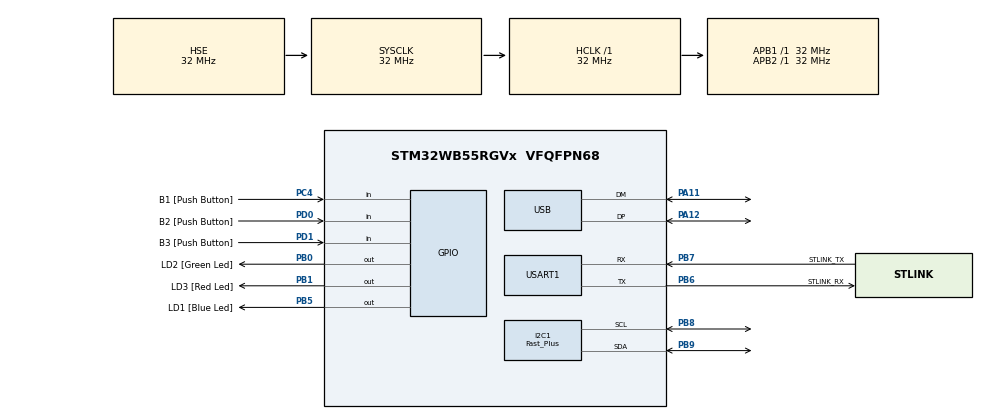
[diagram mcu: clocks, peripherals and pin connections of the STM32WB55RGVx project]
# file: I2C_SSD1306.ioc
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Dma.I2C1_TX.0.Direction=DMA_MEMORY_TO_PERIPH
Dma.I2C1_TX.0.EventEnable=DISABLE
Dma.I2C1_TX.0.Instance=DMA1_Channel1
Dma.I2C1_TX.0.MemDataAlignment=DMA_MDATAALIGN_BYTE
Dma.I2C1_TX.0.MemInc=DMA_MINC_ENABLE
Dma.I2C1_TX.0.Mode=DMA_NORMAL
Dma.I2C1_TX.0.PeriphDataAlignment=DMA_PDATAALIGN_BYTE
Dma.I2C1_TX.0.PeriphInc=DMA_PINC_DISABLE
Dma.I2C1_TX.0.Polarity=HAL_DMAMUX_REQ_GEN_RISING
Dma.I2C1_TX.0.Priority=DMA_PRIORITY_LOW
Dma.I2C1_TX.0.RequestNumber=1
Dma.I2C1_TX.0.SignalID=NONE
Dma.I2C1_TX.0.SyncEnable=DISABLE
Dma.I2C1_TX.0.SyncPolarity=HAL_DMAMUX_SYNC_NO_EVENT
Dma.I2C1_TX.0.SyncRequestNumber=1
Dma.I2C1_TX.0.SyncSignalID=NONE
Dma.Request0=I2C1_TX
Dma.Request1=USART1_RX
Dma.Request2=USART1_TX
Dma.USART1_RX.1.Direction=DMA_PERIPH_TO_MEMORY
Dma.USART1_RX.1.EventEnable=DISABLE
Dma.USART1_RX.1.Instance=DMA1_Channel3
Dma.USART1_RX.1.MemDataAlignment=DMA_MDATAALIGN_BYTE
Dma.USART1_RX.1.MemInc=DMA_MINC_ENABLE
Dma.USART1_RX.1.Mode=DMA_NORMAL
Dma.USART1_RX.1.PeriphDataAlignment=DMA_PDATAALIGN_BYTE
Dma.USART1_RX.1.PeriphInc=DMA_PINC_DISABLE
Dma.USART1_RX.1.Polarity=HAL_DMAMUX_REQ_GEN_RISING
Dma.USART1_RX.1.Priority=DMA_PRIORITY_LOW
Dma.USART1_RX.1.RequestNumber=1
Dma.USART1_RX.1.SignalID=NONE
Dma.USART1_RX.1.SyncEnable=DISABLE
Dma.USART1_RX.1.SyncPolarity=HAL_DMAMUX_SYNC_NO_EVENT
Dma.USART1_RX.1.SyncRequestNumber=1
Dma.USART1_RX.1.SyncSignalID=NONE
Dma.USART1_TX.2.Direction=DMA_MEMORY_TO_PERIPH
Dma.USART1_TX.2.EventEnable=DISABLE
Dma.USART1_TX.2.Instance=DMA1_Channel4
Dma.USART1_TX.2.MemDataAlignment=DMA_MDATAALIGN_BYTE
Dma.USART1_TX.2.MemInc=DMA_MINC_ENABLE
Dma.USART1_TX.2.Mode=DMA_NORMAL
Dma.USART1_TX.2.PeriphDataAlignment=DMA_PDATAALIGN_BYTE
Dma.USART1_TX.2.PeriphInc=DMA_PINC_DISABLE
Dma.USART1_TX.2.Polarity=HAL_DMAMUX_REQ_GEN_RISING
Dma.USART1_TX.2.Priority=DMA_PRIORITY_LOW
Dma.USART1_TX.2.RequestNumber=1
Dma.USART1_TX.2.SignalID=NONE
Dma.USART1_TX.2.SyncEnable=DISABLE
Dma.USART1_TX.2.SyncPolarity=HAL_DMAMUX_SYNC_NO_EVENT
Dma.USART1_TX.2.SyncRequestNumber=1
Dma.USART1_TX.2.SyncSignalID=NONE
I2C1.I2C_Speed_Mode=I2C_Fast_Plus
I2C1.Timing=0x00100413
Mcu.Family=STM32WB
Mcu.Name=STM32WB55RGVx
Mcu.Package=VFQFPN68
NVIC.DMA1_Channel1_IRQn=true\:0\:0\:false\:false\:true\:false\:true
NVIC.DMA1_Channel3_IRQn=true\:0\:0\:false\:false\:true\:false\:true
NVIC.DMA1_Channel4_IRQn=true\:0\:0\:false\:false\:true\:false\:true
NVIC.I2C1_ER_IRQn=true\:0\:0\:false\:false\:true\:true\:true
NVIC.I2C1_EV_IRQn=true\:0\:0\:false\:false\:true\:true\:true
NVIC.PriorityGroup=NVIC_PRIORITYGROUP_4
NVIC.USART1_IRQn=true\:0\:0\:false\:false\:true\:true\:true
OSC_IN.Mode=HSE-External-Oscillator
OSC_IN.Signal=RCC_OSC_IN
OSC_OUT.Mode=HSE-External-Oscillator
OSC_OUT.Signal=RCC_OSC_OUT
PA11.Mode=Device
PA11.Signal=USB_DM
PA12.Mode=Device
PA12.Signal=USB_DP
PA13.GPIO_Label=JTMS
PA13.Mode=Trace_Asynchronous_SW
PA13.Signal=SYS_JTMS-SWDIO
PA14.GPIO_Label=JTCK
PA14.Mode=Trace_Asynchronous_SW
PA14.Signal=SYS_JTCK-SWCLK
PB0.GPIO_Label=LD2 [Green Led]
PB0.Signal=GPIO_Output
PB1.GPIO_Label=LD3 [Red Led]
PB1.Signal=GPIO_Output
PB3.GPIO_Label=JTDO
PB3.Mode=Trace_Asynchronous_SW
PB3.Signal=SYS_JTDO-SWO
PB5.GPIO_Label=LD1 [Blue Led]
PB5.Signal=GPIO_Output
PB6.GPIO_Label=STLINK_RX
PB6.Mode=Asynchronous
PB6.Signal=USART1_TX
PB7.GPIO_Label=STLINK_TX
PB7.Mode=Asynchronous
PB7.Signal=USART1_RX
PB8.Mode=I2C
PB8.Signal=I2C1_SCL
PB9.Mode=I2C
PB9.Signal=I2C1_SDA
PC13.Mode=SYS_WakeUp1
PC13.Signal=SYS_WKUP2
PC14-OSC32_IN.Mode=LSE-External-Oscillator
PC14-OSC32_IN.Signal=RCC_OSC32_IN
PC15-OSC32_OUT.Mode=LSE-External-Oscillator
PC15-OSC32_OUT.Signal=RCC_OSC32_OUT
PC4.GPIO_Label=B1 [Push Button]
PC4.Signal=GPIO_Input
PD0.GPIO_Label=B2 [Push Button]
PD0.Signal=GPIO_Input
PD1.GPIO_Label=B3 [Push Button]
PD1.Signal=GPIO_Input
ProjectManager.HeapSize=0x200
ProjectManager.StackSize=0x400
ProjectManager.TargetToolchain=TrueSTUDIO
RCC.ADCFreq_Value=48000000
RCC.AHBFreq_Value=32000000
RCC.APB1Freq_Value=32000000
RCC.APB1TimFreq_Value=32000000
RCC.APB2Freq_Value=32000000
RCC.APB2TimFreq_Value=32000000
RCC.APB3Freq_Value=16000000
RCC.CortexFreq_Value=32000000
RCC.HCLKFreq_Value=32000000
RCC.HSE_VALUE=32000000
RCC.HSI48_VALUE=48000000
RCC.HSI_VALUE=16000000
RCC.PLLN=32
RCC.PLLSAI1N=24
RCC.SMPSCLockSelectionVirtual=RCC_SMPSCLKSOURCE_HSI
RCC.SYSCLKFreq_VALUE=32000000
RCC.SYSCLKSource=RCC_SYSCLKSOURCE_HSE
RCC.USBFreq_Value=48000000
RCC.VCOOutputFreq_Value=128000000
USART1.Parity=PARITY_ODD
USART1.VirtualMode-Asynchronous=VM_ASYNC
USART1.WordLength=WORDLENGTH_8B
board=P-NUCLEO-WB55-Nucleo

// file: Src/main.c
/* USER CODE BEGIN Header */
/**
  ******************************************************************************
  * @file           : main.c
  * @brief          : Main program body
  ******************************************************************************
  * @attention
  *
  * <h2><center>&copy; Copyright (c) 2019 STMicroelectronics.
  * All rights reserved.</center></h2>
  *
  * This software component is licensed by ST under BSD 3-Clause license,
  * the "License"; You may not use this file except in compliance with the
  * License. You may obtain a copy of the License at:
  *                        opensource.org/licenses/BSD-3-Clause
  *
  ******************************************************************************
  */
/* USER CODE END Header */

#include "main.h"

/* USER CODE BEGIN Includes */

#include<stdio.h>
#include "fonts.h"
#include "SSD1306.h"

/* USER CODE END Includes */

I2C_HandleTypeDef hi2c1;
DMA_HandleTypeDef hdma_i2c1_tx;

UART_HandleTypeDef huart1;
DMA_HandleTypeDef hdma_usart1_rx;
DMA_HandleTypeDef hdma_usart1_tx;

PCD_HandleTypeDef hpcd_USB_FS;

/* USER CODE BEGIN PV */

uint8_t ssd1306_buffer[128*8]={0};
//uint8_t ssd1306_Fonts[]={0x00, 0x00, 0x00, 0xE0, 0xF8, 0x1F, 0x07, 0x1F, 0xF8, 0xE0, 0x00, 0x00, 0x00,
//					0x60, 0x7C, 0x1F, 0x07, 0x06, 0x06, 0x06, 0x06, 0x06, 0x07, 0x1F, 0x7C, 0x60
//};

/* USER CODE END PV */

void SystemClock_Config(void);
static void MX_GPIO_Init(void);
static void MX_DMA_Init(void);
static void MX_I2C1_Init(void);
static void MX_USART1_UART_Init(void);
static void MX_USB_PCD_Init(void);

/* USER CODE BEGIN 0 */

#ifdef __GNUC__
int _write(int file,uint8_t*ptr,int len)
{
  HAL_UART_Transmit(&huart1,ptr,len,1000);
  return len;
}
#elif (__ICCARM__||__CC_ARM)
int fputc(int c,FILE*stream)
{
  HAL_UART_Transmit(&huart1,(uint8_t*)&c,1,1000);
  return c;
}
#endif

/* USER CODE END 0 */

int main(void)
{

  /* MCU Configuration--------------------------------------------------------*/

  /* Reset of all peripherals, Initializes the Flash interface and the Systick. */
  HAL_Init();

  /* Configure the system clock */
  SystemClock_Config();

  /* Initialize all configured peripherals */
  MX_GPIO_Init();
  MX_DMA_Init();
  MX_I2C1_Init();
  MX_USART1_UART_Init();
  MX_USB_PCD_Init();
  /* USER CODE BEGIN 2 */

  uint8_t fill_Buffer=0;

  ssd1306_Init();
  ssd1306_Clear();

  for(uint8_t i=0;i<9;i++)
  {
	  ssd1306_Fill_Screen(fill_Buffer);
	  fill_Buffer=((fill_Buffer<<1)|0x01);
	  HAL_Delay(500);
  }

  ssd1306_Clear();

  for(uint8_t i=0;i<8;i+=2)
  {
	  for(uint8_t j=0;j<128;j++)
	  {
		  ssd1306_W_String("ABCDEFGHIJKLMNOPQRSTUVWXYZabcdefghijklmnopqrstuvwxyz{|}~",i,j);
		  HAL_Delay(20);
	  }
  }

  /* USER CODE END 2 */

  /* Infinite loop */
  while (1)
  {

  }
}

void SystemClock_Config(void)
{
  RCC_OscInitTypeDef RCC_OscInitStruct = {0};
  RCC_ClkInitTypeDef RCC_ClkInitStruct = {0};
  RCC_PeriphCLKInitTypeDef PeriphClkInitStruct = {0};

  /** Macro to configure the PLL multiplication factor
  */
  __HAL_RCC_PLL_PLLM_CONFIG(RCC_PLLM_DIV1);
  /** Macro to configure the PLL clock source
  */
  __HAL_RCC_PLL_PLLSOURCE_CONFIG(RCC_PLLSOURCE_MSI);
  /** Configure LSE Drive Capability
  */
  __HAL_RCC_LSEDRIVE_CONFIG(RCC_LSEDRIVE_LOW);
  /** Configure the main internal regulator output voltage
  */
  __HAL_PWR_VOLTAGESCALING_CONFIG(PWR_REGULATOR_VOLTAGE_SCALE1);
  /** Initializes the CPU, AHB and APB busses clocks
  */
  RCC_OscInitStruct.OscillatorType = RCC_OSCILLATORTYPE_HSI|RCC_OSCILLATORTYPE_HSE
                              |RCC_OSCILLATORTYPE_LSE|RCC_OSCILLATORTYPE_MSI;
  RCC_OscInitStruct.HSEState = RCC_HSE_ON;
  RCC_OscInitStruct.LSEState = RCC_LSE_ON;
  RCC_OscInitStruct.HSIState = RCC_HSI_ON;
  RCC_OscInitStruct.MSIState = RCC_MSI_ON;
  RCC_OscInitStruct.HSICalibrationValue = RCC_HSICALIBRATION_DEFAULT;
  RCC_OscInitStruct.MSICalibrationValue = RCC_MSICALIBRATION_DEFAULT;
  RCC_OscInitStruct.MSIClockRange = RCC_MSIRANGE_6;
  RCC_OscInitStruct.PLL.PLLState = RCC_PLL_NONE;
  if (HAL_RCC_OscConfig(&RCC_OscInitStruct) != HAL_OK)
  {
    Error_Handler();
  }
  /** Configure the SYSCLKSource, HCLK, PCLK1 and PCLK2 clocks dividers
  */
  RCC_ClkInitStruct.ClockType = RCC_CLOCKTYPE_HCLK4|RCC_CLOCKTYPE_HCLK2
                              |RCC_CLOCKTYPE_HCLK|RCC_CLOCKTYPE_SYSCLK
                              |RCC_CLOCKTYPE_PCLK1|RCC_CLOCKTYPE_PCLK2;
  RCC_ClkInitStruct.SYSCLKSource = RCC_SYSCLKSOURCE_HSE;
  RCC_ClkInitStruct.AHBCLKDivider = RCC_SYSCLK_DIV1;
  RCC_ClkInitStruct.APB1CLKDivider = RCC_HCLK_DIV1;
  RCC_ClkInitStruct.APB2CLKDivider = RCC_HCLK_DIV1;
  RCC_ClkInitStruct.AHBCLK2Divider = RCC_SYSCLK_DIV1;
  RCC_ClkInitStruct.AHBCLK4Divider = RCC_SYSCLK_DIV1;

  if (HAL_RCC_ClockConfig(&RCC_ClkInitStruct, FLASH_LATENCY_1) != HAL_OK)
  {
    Error_Handler();
  }
  /** Initializes the peripherals clocks
  */
  PeriphClkInitStruct.PeriphClockSelection = RCC_PERIPHCLK_SMPS|RCC_PERIPHCLK_USART1
                              |RCC_PERIPHCLK_I2C1|RCC_PERIPHCLK_USB;
  PeriphClkInitStruct.PLLSAI1.PLLN = 24;
  PeriphClkInitStruct.PLLSAI1.PLLP = RCC_PLLP_DIV2;
  PeriphClkInitStruct.PLLSAI1.PLLQ = RCC_PLLQ_DIV2;
  PeriphClkInitStruct.PLLSAI1.PLLR = RCC_PLLR_DIV2;
  PeriphClkInitStruct.PLLSAI1.PLLSAI1ClockOut = RCC_PLLSAI1_USBCLK;
  PeriphClkInitStruct.Usart1ClockSelection = RCC_USART1CLKSOURCE_PCLK2;
  PeriphClkInitStruct.I2c1ClockSelection = RCC_I2C1CLKSOURCE_PCLK1;
  PeriphClkInitStruct.UsbClockSelection = RCC_USBCLKSOURCE_PLLSAI1;
  PeriphClkInitStruct.SmpsClockSelection = RCC_SMPSCLKSOURCE_HSI;
  PeriphClkInitStruct.SmpsDivSelection = RCC_SMPSCLKDIV_RANGE1;

  if (HAL_RCCEx_PeriphCLKConfig(&PeriphClkInitStruct) != HAL_OK)
  {
    Error_Handler();
  }
  /** Enable MSI Auto calibration
  */
  HAL_RCCEx_EnableMSIPLLMode();
}

static void MX_I2C1_Init(void)
{

  hi2c1.Instance = I2C1;
  hi2c1.Init.Timing = 0x00100413;
  hi2c1.Init.OwnAddress1 = 0;
  hi2c1.Init.AddressingMode = I2C_ADDRESSINGMODE_7BIT;
  hi2c1.Init.DualAddressMode = I2C_DUALADDRESS_DISABLE;
  hi2c1.Init.OwnAddress2 = 0;
  hi2c1.Init.OwnAddress2Masks = I2C_OA2_NOMASK;
  hi2c1.Init.GeneralCallMode = I2C_GENERALCALL_DISABLE;
  hi2c1.Init.NoStretchMode = I2C_NOSTRETCH_DISABLE;
  if (HAL_I2C_Init(&hi2c1) != HAL_OK)
  {
    Error_Handler();
  }
  /** Configure Analogue filter
  */
  if (HAL_I2CEx_ConfigAnalogFilter(&hi2c1, I2C_ANALOGFILTER_ENABLE) != HAL_OK)
  {
    Error_Handler();
  }
  /** Configure Digital filter
  */
  if (HAL_I2CEx_ConfigDigitalFilter(&hi2c1, 0) != HAL_OK)
  {
    Error_Handler();
  }
  /** I2C Enable Fast Mode Plus
  */
  HAL_I2CEx_EnableFastModePlus(I2C_FASTMODEPLUS_I2C1);

}

static void MX_USART1_UART_Init(void)
{

  huart1.Instance = USART1;
  huart1.Init.BaudRate = 115200;
  huart1.Init.WordLength = UART_WORDLENGTH_8B;
  huart1.Init.StopBits = UART_STOPBITS_1;
  huart1.Init.Parity = UART_PARITY_ODD;
  huart1.Init.Mode = UART_MODE_TX_RX;
  huart1.Init.HwFlowCtl = UART_HWCONTROL_NONE;
  huart1.Init.OverSampling = UART_OVERSAMPLING_16;
  huart1.Init.OneBitSampling = UART_ONE_BIT_SAMPLE_DISABLE;
  huart1.Init.ClockPrescaler = UART_PRESCALER_DIV1;
  huart1.AdvancedInit.AdvFeatureInit = UART_ADVFEATURE_NO_INIT;
  if (HAL_UART_Init(&huart1) != HAL_OK)
  {
    Error_Handler();
  }
  if (HAL_UARTEx_SetTxFifoThreshold(&huart1, UART_TXFIFO_THRESHOLD_1_8) != HAL_OK)
  {
    Error_Handler();
  }
  if (HAL_UARTEx_SetRxFifoThreshold(&huart1, UART_RXFIFO_THRESHOLD_1_8) != HAL_OK)
  {
    Error_Handler();
  }
  if (HAL_UARTEx_DisableFifoMode(&huart1) != HAL_OK)
  {
    Error_Handler();
  }

}

static void MX_USB_PCD_Init(void)
{

  hpcd_USB_FS.Instance = USB;
  hpcd_USB_FS.Init.dev_endpoints = 8;
  hpcd_USB_FS.Init.speed = PCD_SPEED_FULL;
  hpcd_USB_FS.Init.phy_itface = PCD_PHY_EMBEDDED;
  hpcd_USB_FS.Init.Sof_enable = DISABLE;
  hpcd_USB_FS.Init.low_power_enable = DISABLE;
  hpcd_USB_FS.Init.lpm_enable = DISABLE;
  hpcd_USB_FS.Init.battery_charging_enable = DISABLE;
  if (HAL_PCD_Init(&hpcd_USB_FS) != HAL_OK)
  {
    Error_Handler();
  }

}

static void MX_DMA_Init(void)
{

  /* DMA controller clock enable */
  __HAL_RCC_DMAMUX1_CLK_ENABLE();
  __HAL_RCC_DMA1_CLK_ENABLE();

  /* DMA interrupt init */
  /* DMA1_Channel1_IRQn interrupt configuration */
  HAL_NVIC_SetPriority(DMA1_Channel1_IRQn, 0, 0);
  HAL_NVIC_EnableIRQ(DMA1_Channel1_IRQn);
  /* DMA1_Channel3_IRQn interrupt configuration */
  HAL_NVIC_SetPriority(DMA1_Channel3_IRQn, 0, 0);
  HAL_NVIC_EnableIRQ(DMA1_Channel3_IRQn);
  /* DMA1_Channel4_IRQn interrupt configuration */
  HAL_NVIC_SetPriority(DMA1_Channel4_IRQn, 0, 0);
  HAL_NVIC_EnableIRQ(DMA1_Channel4_IRQn);

}

static void MX_GPIO_Init(void)
{
  GPIO_InitTypeDef GPIO_InitStruct = {0};

  /* GPIO Ports Clock Enable */
  __HAL_RCC_GPIOC_CLK_ENABLE();
  __HAL_RCC_GPIOB_CLK_ENABLE();
  __HAL_RCC_GPIOA_CLK_ENABLE();
  __HAL_RCC_GPIOD_CLK_ENABLE();

  /*Configure GPIO pin Output Level */
  HAL_GPIO_WritePin(GPIOB, LD2_Pin|LD3_Pin|LD1_Pin, GPIO_PIN_RESET);

  /*Configure GPIO pin : B1_Pin */
  GPIO_InitStruct.Pin = B1_Pin;
  GPIO_InitStruct.Mode = GPIO_MODE_INPUT;
  GPIO_InitStruct.Pull = GPIO_NOPULL;
  HAL_GPIO_Init(B1_GPIO_Port, &GPIO_InitStruct);

  /*Configure GPIO pins : LD2_Pin LD3_Pin LD1_Pin */
  GPIO_InitStruct.Pin = LD2_Pin|LD3_Pin|LD1_Pin;
  GPIO_InitStruct.Mode = GPIO_MODE_OUTPUT_PP;
  GPIO_InitStruct.Pull = GPIO_NOPULL;
  GPIO_InitStruct.Speed = GPIO_SPEED_FREQ_LOW;
  HAL_GPIO_Init(GPIOB, &GPIO_InitStruct);

  /*Configure GPIO pins : B2_Pin B3_Pin */
  GPIO_InitStruct.Pin = B2_Pin|B3_Pin;
  GPIO_InitStruct.Mode = GPIO_MODE_INPUT;
  GPIO_InitStruct.Pull = GPIO_NOPULL;
  HAL_GPIO_Init(GPIOD, &GPIO_InitStruct);

}

void Error_Handler(void)
{
}

/************************ (C) COPYRIGHT STMicroelectronics *****END OF FILE****/
